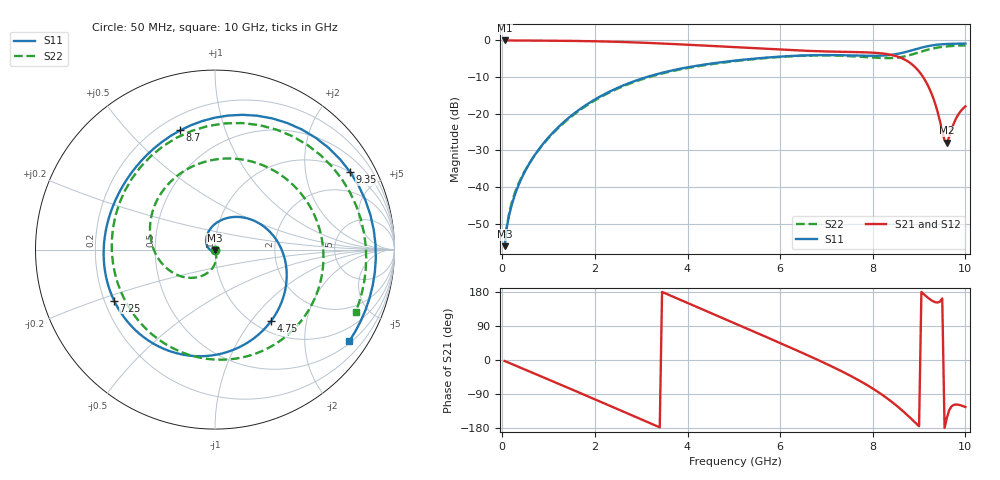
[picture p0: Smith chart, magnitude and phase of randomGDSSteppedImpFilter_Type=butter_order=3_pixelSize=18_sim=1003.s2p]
! freq	dB(S11)	phase(S11)	dB(S12)	phase(S12)
!  dB(S21)	phase(S21)	dB(S22)	phase(S22)
!S-par simulation data
#  GHz  S  DB  R 50
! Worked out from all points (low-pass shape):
!   200 points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, 50 MHz to 10 GHz, reference 50 ohm
!   highest |S21| = 0.00 dB at 50 MHz (marker M1); lowest = -27.9 dB at 9.6 GHz (marker M2)
!   |S21| within 3 dB of the highest: start of sweep to 6.98 GHz
!   lowest |S11| = -56.2 dB at 50 MHz (marker M3), VSWR 1.00, Z = 50 - j0.155 ohm
!   |S11| at or under -10 dB: start of sweep to 3.118 GHz
!   |S22| runs from -56.2 to -1.3 dB; largest |S21 - S12| = 0
!   S11 on the Smith chart (normalised r, x): 50 MHz: 1.00, -0.00; 4.75 GHz: 1.18, -1.26; 7.25 GHz: 0.24, -0.22; 8.7 GHz: 0.28, +0.71; 9.35 GHz: 1.00, +3.49; 10 GHz: 0.56, -3.16
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0.05  -56.17 -88.7  -0.00 -2.6  -0.00 -2.6  -56.16 -71.0
0.1  -50.80 -96.5  -0.01 -5.2  -0.01 -5.2  -50.56 -77.9
0.2  -45.07 -114.2  -0.02 -10.4  -0.02 -10.4  -44.46 -79.9
0.5  -35.51 -155.4  -0.04 -25.8  -0.04 -25.8  -35.33 -77.7
1.15  -24.41 143.3  -0.08 -59.4  -0.08 -59.4  -24.63 -84.5
1.75  -18.12 99.6  -0.17 -90.7  -0.17 -90.7  -18.37 -103.0
2.65  -12.09 44.7  -0.44 -138.1  -0.44 -138.1  -12.30 -142.5
3.4  -9.00 5.8  -0.81 -177.7  -0.81 -177.7  -9.19 177.5
4.05  -7.23 -23.7  -1.20 148.0  -1.20 148.0  -7.42 138.8
4.75  -5.92 -51.9  -1.65 111.1  -1.65 111.1  -6.08 93.7
5.05  -5.47 -63.3  -1.85 95.3  -1.85 95.3  -5.62 73.5
5.95  -4.46 -97.2  -2.46 47.3  -2.46 47.3  -4.55 12.4
6.7  -4.03 -127.7  -2.89 6.6  -2.89 6.6  -4.11 -38.0
7.25  -4.01 -153.2  -3.08 -25.0  -3.08 -25.0  -4.16 -75.7
7.8  -4.17 176.5  -3.22 -60.6  -3.22 -60.6  -4.52 -117.8
8.35  -3.99 138.1  -3.83 -104.8  -3.83 -104.8  -4.83 -172.8
8.7  -3.20 106.3  -5.29 -140.2  -5.29 -140.2  -4.31 139.9
9.05  -1.97 66.5  -9.31 179.4  -9.31 179.4  -3.03 85.4
9.35  -1.23 29.8  -17.35 152.5  -17.35 152.5  -2.05 41.7
9.6  -0.97 1.9  -27.91 -152.7  -27.91 -152.7  -1.62 11.8
9.8  -0.89 -17.4  -21.27 -117.4  -21.27 -117.4  -1.44 -7.7
10  -0.86 -34.3  -18.00 -124.0  -18.00 -124.0  -1.34 -23.9
